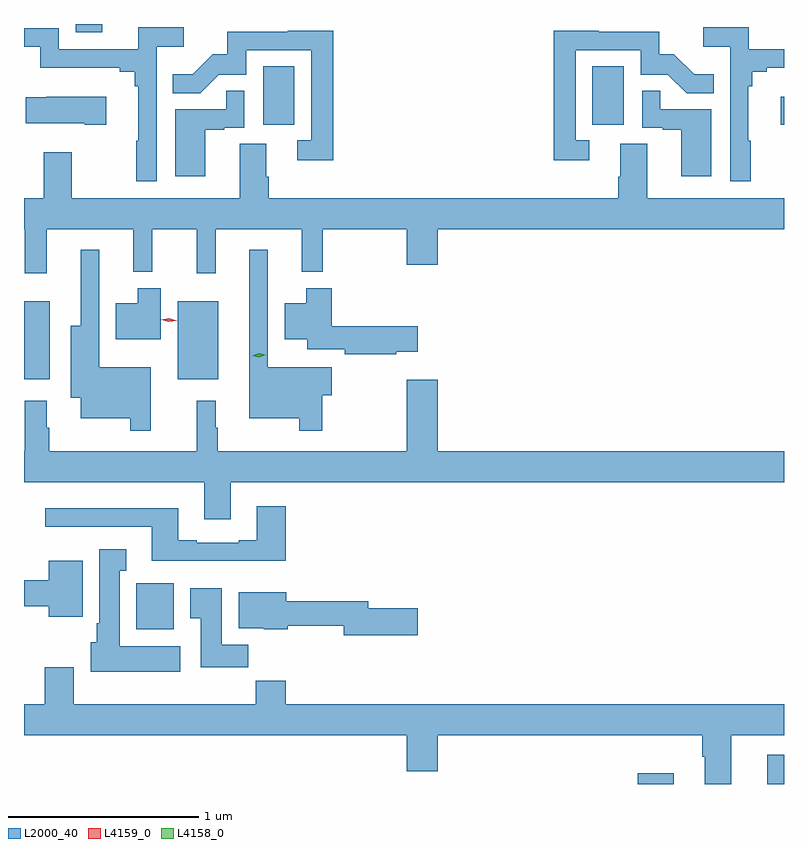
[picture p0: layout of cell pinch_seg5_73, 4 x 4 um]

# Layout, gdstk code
import gdstk
lib = gdstk.Library(unit=1e-6, precision=1e-09)
def R(c, l, rs):  # rectangles x0, y0, x1, y1
    for r in rs: c.add(gdstk.rectangle(r[:2], r[2:], *l))
def P(c, l, *ps):  # polygons
    for p in ps: c.add(gdstk.Polygon(p, *l))
L2000_40 = (2000, 40)
L4158_0 = (4158, 0)
L4159_0 = (4159, 0)

pinch_seg5_73 = lib.new_cell('pinch_seg5_73')
R(pinch_seg5_73, L2000_40, [(1053.337,904.456,1053.526,904.513), (1054.019,904.456,1054.106,904.609), (1050.698,905.27,1050.895,905.512), (1050.106,906.587,1050.241,906.997), (1050.914,906.587,1051.129,906.997), (1051.364,907.926,1051.528,908.233), (1053.098,907.926,1053.262,908.233), (1054.089,907.927,1054.106,908.074), (1050.378,908.412,1050.517,908.456)])
P(pinch_seg5_73, L2000_40, [(1050.804,908.336),(1050.946,908.336),(1050.946,908.438),(1050.707,908.438),(1050.707,908.322),(1050.288,908.322),(1050.288,908.433),(1050.106,908.433),(1050.106,908.337),(1050.192,908.337),(1050.192,908.225),(1050.611,908.225),(1050.611,908.206),(1050.688,908.206),(1050.688,908.129),(1050.707,908.129),(1050.707,907.841),(1050.696,907.841),(1050.696,907.629),(1050.804,907.629)],
  [(1053.931,907.841),(1053.919,907.841),(1053.919,908.129),(1053.938,908.129),(1053.938,908.206),(1054.015,908.206),(1054.015,908.225),(1054.106,908.225),(1054.106,908.322),(1053.92,908.322),(1053.92,908.438),(1053.681,908.438),(1053.681,908.336),(1053.822,908.336),(1053.822,907.629),(1053.931,907.629)],
  [(1053.082,907.845),(1053.009,907.845),(1053.009,908.319),(1053.351,908.319),(1053.351,908.19),(1053.495,908.19),(1053.593,908.092),(1053.737,908.092),(1053.737,908.191),(1053.633,908.191),(1053.526,908.298),(1053.45,908.298),(1053.45,908.415),(1053.131,908.415),(1053.131,908.42),(1052.893,908.42),(1052.893,907.74),(1053.082,907.74)],
  [(1051.733,908.42),(1051.495,908.42),(1051.495,908.415),(1051.177,908.415),(1051.177,908.298),(1051.1,908.298),(1050.993,908.191),(1050.889,908.191),(1050.889,908.092),(1051.033,908.092),(1051.131,908.19),(1051.275,908.19),(1051.275,908.319),(1051.617,908.319),(1051.617,907.845),(1051.545,907.845),(1051.545,907.74),(1051.733,907.74)],
  [(1051.06,907.899),(1051.16,907.899),(1051.16,907.911),(1051.266,907.911),(1051.266,908.105),(1051.171,908.105),(1051.171,908.007),(1050.902,908.007),(1050.902,907.656),(1051.06,907.656)],
  [(1053.724,908.007),(1053.455,908.007),(1053.455,908.105),(1053.36,908.105),(1053.36,907.911),(1053.467,907.911),(1053.467,907.899),(1053.566,907.899),(1053.566,907.656),(1053.724,907.656)],
  [(1050.538,908.074),(1050.223,908.074),(1050.223,908.071),(1050.115,908.071),(1050.115,907.934),(1050.425,907.934),(1050.425,907.927),(1050.538,907.927)],
  [(1050.227,907.376),(1050.68,907.376),(1050.68,907.151),(1050.78,907.151),(1050.78,907.376),(1051.015,907.376),(1051.015,907.143),(1051.115,907.143),(1051.115,907.376),(1051.568,907.376),(1051.568,907.151),(1051.678,907.151),(1051.678,907.376),(1052.12,907.376),(1052.12,907.188),(1052.284,907.188),(1052.284,907.376),(1054.106,907.376),(1054.106,907.54),(1053.385,907.54),(1053.385,907.826),(1053.245,907.826),(1053.245,907.652),(1053.233,907.652),(1053.233,907.54),(1051.394,907.54),(1051.394,907.652),(1051.381,907.652),(1051.381,907.826),(1051.241,907.826),(1051.241,907.54),(1050.357,907.54),(1050.357,907.78),(1050.209,907.78),(1050.209,907.54),(1050.106,907.54),(1050.106,907.376),(1050.109,907.376),(1050.109,907.143),(1050.227,907.143)],
  [(1051.675,906.502),(1051.726,906.502),(1051.726,906.649),(1051.389,906.649),(1051.389,907.267),(1051.292,907.267),(1051.292,906.38),(1051.554,906.38),(1051.554,906.315),(1051.675,906.315)],
  [(1050.774,906.649),(1050.501,906.649),(1050.501,907.267),(1050.404,907.267),(1050.404,906.868),(1050.353,906.868),(1050.353,906.488),(1050.404,906.488),(1050.404,906.38),(1050.666,906.38),(1050.666,906.315),(1050.774,906.315)],
  [(1052.066,906.731),(1052.179,906.731),(1052.179,906.866),(1051.727,906.866),(1051.727,907.066),(1051.592,907.066),(1051.592,906.985),(1051.478,906.985),(1051.478,906.797),(1051.598,906.797),(1051.598,906.743),(1051.794,906.743),(1051.794,906.719),(1052.066,906.719)],
  [(1050.826,907.066),(1050.704,907.066),(1050.704,906.985),(1050.59,906.985),(1050.59,906.797),(1050.826,906.797)],
  [(1051.195,906.044),(1054.106,906.044),(1054.106,906.208),(1052.284,906.208),(1052.284,906.583),(1052.12,906.583),(1052.12,906.208),(1051.126,906.208),(1051.126,906.332),(1051.114,906.332),(1051.114,906.472),(1051.015,906.472),(1051.015,906.208),(1050.238,906.208),(1050.238,906.332),(1050.225,906.332),(1050.225,906.472),(1050.109,906.472),(1050.109,906.208),(1050.106,906.208),(1050.106,906.044),(1051.055,906.044),(1051.055,905.85),(1051.195,905.85)],
  [(1051.484,905.917),(1051.331,905.917),(1051.331,905.74),(1051.235,905.74),(1051.235,905.727),(1051.015,905.727),(1051.015,905.74),(1050.919,905.74),(1050.919,905.908),(1050.219,905.908),(1050.219,905.811),(1050.779,905.811),(1050.779,905.63),(1051.484,905.63)],
  [(1050.928,905.182),(1050.61,905.182),(1050.61,905.579),(1050.643,905.579),(1050.643,905.692),(1050.503,905.692),(1050.503,905.302),(1050.488,905.302),(1050.488,905.202),(1050.458,905.202),(1050.458,905.048),(1050.928,905.048)],
  [(1050.415,905.632),(1050.236,905.632),(1050.236,905.528),(1050.106,905.528),(1050.106,905.392),(1050.236,905.392),(1050.236,905.336),(1050.415,905.336)],
  [(1051.286,905.188),(1051.147,905.188),(1051.147,905.485),(1050.98,905.485),(1050.98,905.329),(1051.037,905.329),(1051.037,905.07),(1051.286,905.07)],
  [(1052.179,905.381),(1051.918,905.381),(1051.918,905.417),(1051.486,905.417),(1051.486,905.464),(1051.235,905.464),(1051.235,905.276),(1051.368,905.276),(1051.368,905.27),(1051.494,905.27),(1051.494,905.289),(1051.79,905.289),(1051.79,905.239),(1052.179,905.239)],
  [(1053.829,904.712),(1054.106,904.712),(1054.106,904.876),(1051.484,904.876),(1051.484,905),(1051.327,905),(1051.327,904.876),(1050.367,904.876),(1050.367,905.071),(1050.215,905.071),(1050.215,904.876),(1050.106,904.876),(1050.106,904.712),(1052.12,904.712),(1052.12,904.524),(1052.284,904.524),(1052.284,904.712),(1053.677,904.712),(1053.677,904.6),(1053.689,904.6),(1053.689,904.456),(1053.829,904.456)])
P(pinch_seg5_73, L4158_0, [(1051.344,906.702),(1051.308,906.71),(1051.308,906.71),(1051.308,906.71),(1051.342,906.722),(1051.378,906.715),(1051.379,906.715),(1051.378,906.715)])
P(pinch_seg5_73, L4159_0, [(1050.869,906.888),(1050.829,906.9),(1050.829,906.9),(1050.829,906.9),(1050.87,906.907),(1050.91,906.895),(1050.911,906.895),(1050.91,906.895)])

lib.write_gds('pinch_seg5_73.gds')
